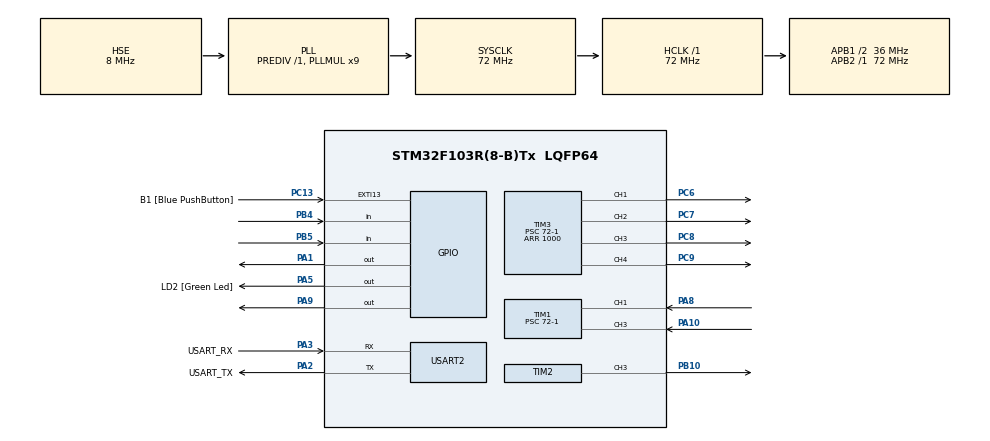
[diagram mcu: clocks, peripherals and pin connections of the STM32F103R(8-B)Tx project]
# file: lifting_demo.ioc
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Mcu.Family=STM32F1
Mcu.Name=STM32F103R(8-B)Tx
Mcu.Package=LQFP64
NVIC.EXTI15_10_IRQn=true\:0\:0\:false\:false\:true\:true\:true
NVIC.PriorityGroup=NVIC_PRIORITYGROUP_4
NVIC.TIM1_CC_IRQn=true\:0\:0\:false\:false\:true\:true\:true
PA1.Signal=GPIO_Output
PA10.Signal=S_TIM1_CH3
PA13.GPIO_Label=TMS
PA13.Mode=Serial_Wire
PA13.Signal=SYS_JTMS-SWDIO
PA14.GPIO_Label=TCK
PA14.Mode=Serial_Wire
PA14.Signal=SYS_JTCK-SWCLK
PA2.GPIO_Label=USART_TX
PA2.GPIO_Mode=GPIO_MODE_AF_PP
PA2.GPIO_PuPd=GPIO_NOPULL
PA2.GPIO_Speed=GPIO_SPEED_FREQ_LOW
PA2.Mode=Asynchronous
PA2.Signal=USART2_TX
PA3.GPIO_Label=USART_RX
PA3.GPIO_Mode=GPIO_MODE_AF_PP
PA3.GPIO_PuPd=GPIO_NOPULL
PA3.GPIO_Speed=GPIO_SPEED_FREQ_LOW
PA3.Mode=Asynchronous
PA3.Signal=USART2_RX
PA5.GPIO_Label=LD2 [Green Led]
PA5.GPIO_ModeDefaultOutputPP=GPIO_MODE_OUTPUT_PP
PA5.GPIO_PuPd=GPIO_NOPULL
PA5.GPIO_Speed=GPIO_SPEED_FREQ_LOW
PA5.Signal=GPIO_Output
PA8.Signal=S_TIM1_CH1
PA9.Signal=GPIO_Output
PB10.Signal=S_TIM2_CH3
PB4.Signal=GPIO_Input
PB5.Signal=GPIO_Input
PC13-TAMPER-RTC.GPIO_Label=B1 [Blue PushButton]
PC13-TAMPER-RTC.GPIO_PuPd=GPIO_NOPULL
PC13-TAMPER-RTC.Signal=GPXTI13
PC14-OSC32_IN.Mode=LSE-External-Oscillator
PC14-OSC32_IN.Signal=RCC_OSC32_IN
PC15-OSC32_OUT.Mode=LSE-External-Oscillator
PC15-OSC32_OUT.Signal=RCC_OSC32_OUT
PC6.Signal=S_TIM3_CH1
PC7.Signal=S_TIM3_CH2
PC8.Signal=S_TIM3_CH3
PC9.Signal=S_TIM3_CH4
PD0-OSC_IN.Mode=HSE-External-Clock-Source
PD0-OSC_IN.Signal=RCC_OSC_IN
PD1-OSC_OUT.Mode=HSE-External-Clock-Source
PD1-OSC_OUT.Signal=RCC_OSC_OUT
ProjectManager.HeapSize=0x200
ProjectManager.StackSize=0x400
ProjectManager.TargetToolchain=STM32CubeIDE
RCC.AHBFreq_Value=72000000
RCC.APB1CLKDivider=RCC_HCLK_DIV2
RCC.APB1Freq_Value=36000000
RCC.APB1TimFreq_Value=72000000
RCC.APB2Freq_Value=72000000
RCC.APB2TimFreq_Value=72000000
RCC.HCLKFreq_Value=72000000
RCC.PLLMUL=RCC_PLL_MUL9
RCC.PLLSourceVirtual=RCC_PLLSOURCE_HSE
RCC.RTCClockSelection=RCC_RTCCLKSOURCE_LSE
RCC.SYSCLKFreq_VALUE=72000000
RCC.SYSCLKSource=RCC_SYSCLKSOURCE_PLLCLK
RCC.USBFreq_Value=72000000
SH.S_TIM1_CH1.0=TIM1_CH1,Input_Capture1_from_TI1
SH.S_TIM1_CH3.0=TIM1_CH3,Input_Capture3_from_TI3
SH.S_TIM2_CH3.0=TIM2_CH3,PWM Generation3 CH3
SH.S_TIM3_CH1.0=TIM3_CH1,PWM Generation1 CH1
SH.S_TIM3_CH2.0=TIM3_CH2,PWM Generation2 CH2
SH.S_TIM3_CH3.0=TIM3_CH3,PWM Generation3 CH3
SH.S_TIM3_CH4.0=TIM3_CH4,PWM Generation4 CH4
TIM1.Channel-Input_Capture1_from_TI1=TIM_CHANNEL_1
TIM1.Channel-Input_Capture3_from_TI3=TIM_CHANNEL_3
TIM1.Period=0xffff-1
TIM1.Prescaler=72-1
TIM2.Channel-PWM\ Generation3\ CH3=TIM_CHANNEL_3
TIM2.OCPolarity_3=TIM_OCPOLARITY_LOW
TIM2.Period=100
TIM2.Prescaler=72
TIM3.Channel-PWM\ Generation1\ CH1=TIM_CHANNEL_1
TIM3.Channel-PWM\ Generation2\ CH2=TIM_CHANNEL_2
TIM3.Channel-PWM\ Generation3\ CH3=TIM_CHANNEL_3
TIM3.Channel-PWM\ Generation4\ CH4=TIM_CHANNEL_4
TIM3.OCPolarity_1=TIM_OCPOLARITY_LOW
TIM3.OCPolarity_2=TIM_OCPOLARITY_LOW
TIM3.OCPolarity_3=TIM_OCPOLARITY_LOW
TIM3.OCPolarity_4=TIM_OCPOLARITY_LOW
TIM3.Period=1000
TIM3.Prescaler=72-1
USART2.VirtualMode=VM_ASYNC
VP_TIM4_VS_ClockSourceINT.Mode=Internal
board=NUCLEO-F103RB

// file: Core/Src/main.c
/* USER CODE BEGIN Header */
/**
  ******************************************************************************
  * @file           : main.c
  * @brief          : Main program body
  ******************************************************************************
  * @attention
  *
  * <h2><center>&copy; Copyright (c) 2020 STMicroelectronics.
  * All rights reserved.</center></h2>
  *
  * This software component is licensed by ST under BSD 3-Clause license,
  * the "License"; You may not use this file except in compliance with the
  * License. You may obtain a copy of the License at:
  *                        opensource.org/licenses/BSD-3-Clause
  *
  ******************************************************************************
  */
/* USER CODE END Header */
#include "main.h"
#include "tim.h"
#include "usart.h"
#include "gpio.h"

/* USER CODE BEGIN Includes */

//#include "i2c-lcd.h"

/* USER CODE END Includes */

void SystemClock_Config(void);

/* USER CODE BEGIN 0 */
#ifdef __GNUC__
#define PUTCHAR_PROTOTYPE int __io_putchar(int ch)
#else
#define PUTCHAR_PROTOTYPE int fputc(int ch, FILE *f)
#endif

PUTCHAR_PROTOTYPE
{
    HAL_UART_Transmit(&huart2, (uint8_t *)&ch, 1 , 0xffff);
    return ch;
}

void delay (uint16_t time)
{
	__HAL_TIM_SET_COUNTER(&htim1, 0);
	while (__HAL_TIM_GET_COUNTER (&htim1) < time);
}

uint32_t IC_Val1 = 0;
uint32_t IC_Val2 = 0;
uint32_t Difference = 0;
uint8_t Is_First_Captured = 0;  // is the first value captured ?
uint8_t Distance  = 0;

#define TRIG_PIN GPIO_PIN_9
#define TRIG_PIN_1 GPIO_PIN_1
#define TRIG_PORT GPIOA

// Let's write the callback function

void HAL_TIM_IC_CaptureCallback(TIM_HandleTypeDef *htim)
{
	if (htim->Channel == HAL_TIM_ACTIVE_CHANNEL_1)  // if the interrupt source is channel1
	{
		if (Is_First_Captured==0) // if the first value is not captured
		{
			IC_Val1 = HAL_TIM_ReadCapturedValue(htim, TIM_CHANNEL_1); // read the first value
			Is_First_Captured = 1;  // set the first captured as true
			// Now change the polarity to falling edge
			__HAL_TIM_SET_CAPTUREPOLARITY(htim, TIM_CHANNEL_1, TIM_INPUTCHANNELPOLARITY_FALLING);
		}

		else if (Is_First_Captured==1)   // if the first is already captured
		{
			IC_Val2 = HAL_TIM_ReadCapturedValue(htim, TIM_CHANNEL_1);  // read second value
			__HAL_TIM_SET_COUNTER(htim, 0);  // reset the counter

			if (IC_Val2 > IC_Val1)
			{
				Difference = IC_Val2-IC_Val1;
			}

			else if (IC_Val1 > IC_Val2)
			{
				Difference = (0xffff - IC_Val1) + IC_Val2;
			}

			Distance = Difference * .034/2;
			Is_First_Captured = 0; // set it back to false

			// set polarity to rising edge
			__HAL_TIM_SET_CAPTUREPOLARITY(htim, TIM_CHANNEL_1, TIM_INPUTCHANNELPOLARITY_RISING);
			__HAL_TIM_DISABLE_IT(&htim1, TIM_IT_CC1);
		}
	}
	if (htim->Channel == HAL_TIM_ACTIVE_CHANNEL_3)  // if the interrupt source is channel1
	{
		if (Is_First_Captured==0) // if the first value is not captured
		{
			IC_Val1 = HAL_TIM_ReadCapturedValue(htim, TIM_CHANNEL_3); // read the first value
			Is_First_Captured = 1;  // set the first captured as true
			// Now change the polarity to falling edge
			__HAL_TIM_SET_CAPTUREPOLARITY(htim, TIM_CHANNEL_3, TIM_INPUTCHANNELPOLARITY_FALLING);
		}

		else if (Is_First_Captured==1)   // if the first is already captured
		{
			IC_Val2 = HAL_TIM_ReadCapturedValue(htim, TIM_CHANNEL_3);  // read second value
			__HAL_TIM_SET_COUNTER(htim, 0);  // reset the counter

			if (IC_Val2 > IC_Val1)
			{
				Difference = IC_Val2-IC_Val1;
			}

			else if (IC_Val1 > IC_Val2)
			{
				Difference = (0xffff - IC_Val1) + IC_Val2;
			}

			Distance = Difference * .034/2;
			Is_First_Captured = 0; // set it back to false

			// set polarity to rising edge
			__HAL_TIM_SET_CAPTUREPOLARITY(htim, TIM_CHANNEL_3, TIM_INPUTCHANNELPOLARITY_RISING);
			__HAL_TIM_DISABLE_IT(&htim1, TIM_IT_CC3);
		}
	}
}

void HCSR04_Read (void)
{
	HAL_GPIO_WritePin(TRIG_PORT, TRIG_PIN, GPIO_PIN_SET);  // pull the TRIG pin HIGH
	delay(30);  // wait for 10 us
	HAL_GPIO_WritePin(TRIG_PORT, TRIG_PIN, GPIO_PIN_RESET);  // pull the TRIG pin low

	__HAL_TIM_ENABLE_IT(&htim1, TIM_IT_CC1);
}
void HCSR04_Read_1 (void)
{
	HAL_GPIO_WritePin(TRIG_PORT, TRIG_PIN_1, GPIO_PIN_SET);  // pull the TRIG pin HIGH
	delay(30);  // wait for 10 us
	HAL_GPIO_WritePin(TRIG_PORT, TRIG_PIN_1, GPIO_PIN_RESET);  // pull the TRIG pin low

	__HAL_TIM_ENABLE_IT(&htim1, TIM_IT_CC3);
}

/* USER CODE END 0 */

int main(void)
{
  /* USER CODE BEGIN 1 */
	uint8_t Distance1,Distance2;
	uint8_t Wanted_Distance;
	int PB4,PB5;
  /* USER CODE END 1 */

  /* MCU Configuration--------------------------------------------------------*/

  /* Reset of all peripherals, Initializes the Flash interface and the Systick. */
  HAL_Init();

  /* Configure the system clock */
  SystemClock_Config();

  /* Initialize all configured peripherals */
  MX_GPIO_Init();
  MX_USART2_UART_Init();
  MX_TIM1_Init();
  MX_TIM4_Init();
  MX_TIM3_Init();
  MX_TIM2_Init();
  /* USER CODE BEGIN 2 */

  //lcd_init();

  HAL_TIM_IC_Start_IT(&htim1, TIM_CHANNEL_1);
  HAL_TIM_IC_Start_IT(&htim1, TIM_CHANNEL_3);
  HAL_TIM_PWM_Start(&htim3,TIM_CHANNEL_1);
  HAL_TIM_PWM_Start(&htim3,TIM_CHANNEL_2);
  HAL_TIM_PWM_Start(&htim3,TIM_CHANNEL_3);
  HAL_TIM_PWM_Start(&htim3,TIM_CHANNEL_4);
 // HAL_TIM_PWM_Start(&htim2,TIM_CHANNEL_3);

  /* USER CODE END 2 */

  /* Infinite loop */
  while (1)
  {

    /* USER CODE BEGIN 3 */
	  //GET wanted distance from pb4& pb5
	  PB4 = HAL_GPIO_ReadPin(GPIOB, GPIO_PIN_4);
	  PB5 = HAL_GPIO_ReadPin(GPIOB, GPIO_PIN_5);
	  if((PB4 == 0) && (PB5 == 0))
	  {
		  Wanted_Distance = 4;
	  }
	  if((PB4 == 0) && (PB5 == 1))
	  {
		  Wanted_Distance = 8;
	  }
	  if((PB4 == 1) && (PB5 == 0))
	  {
		  Wanted_Distance = 12;
	  }
	  if((PB4 == 1) && (PB5 == 1))
	  {
		  Wanted_Distance = 16;
	  }
	  //Distance sensor work
	  __HAL_TIM_SET_COMPARE(&htim2,TIM_CHANNEL_3,1);
	  HCSR04_Read();
	  Distance1 = Distance;//youbian
	  printf("\n Distance1 is %d \t\r\n",Distance1);

	  HCSR04_Read_1();
	  Distance2 = Distance;//zuobian
	  printf("\n Distance2 is %d \t\r\n",Distance2);

	  //HAL_Delay(200);

	  if (Distance1<25)
	  {
		if(Distance2 < Wanted_Distance)//xiajiang youbian700 500
				  		{
							__HAL_TIM_SET_COMPARE(&htim3,TIM_CHANNEL_2,800);//700
							__HAL_TIM_SET_COMPARE(&htim3,TIM_CHANNEL_1,1100);
				  		}

		else if(Distance2 > Wanted_Distance)//shangsheng zuobian
						  {
							__HAL_TIM_SET_COMPARE(&htim3,TIM_CHANNEL_1,550);//500
							__HAL_TIM_SET_COMPARE(&htim3,TIM_CHANNEL_2,1100);
						  }
		else
						{
							__HAL_TIM_SET_COMPARE(&htim3,TIM_CHANNEL_2,1100);
							__HAL_TIM_SET_COMPARE(&htim3,TIM_CHANNEL_1,1100);
						 }
		if(Distance1 < Wanted_Distance)//xiajiang 3 4 youbiandianji
				  		{
							__HAL_TIM_SET_COMPARE(&htim3,TIM_CHANNEL_4,800);//
							__HAL_TIM_SET_COMPARE(&htim3,TIM_CHANNEL_3,1100);
				  		}

		else if(Distance1 > Wanted_Distance)//shangsheng youbian
						  {
							__HAL_TIM_SET_COMPARE(&htim3,TIM_CHANNEL_3,450);//500
							__HAL_TIM_SET_COMPARE(&htim3,TIM_CHANNEL_4,1100);
						  }
		else
						{
							__HAL_TIM_SET_COMPARE(&htim3,TIM_CHANNEL_4,1100);
							__HAL_TIM_SET_COMPARE(&htim3,TIM_CHANNEL_3,1100);
						 }
	  }
	  else
	  {
			__HAL_TIM_SET_COMPARE(&htim3,TIM_CHANNEL_4,1100);
			__HAL_TIM_SET_COMPARE(&htim3,TIM_CHANNEL_3,1100);
			__HAL_TIM_SET_COMPARE(&htim3,TIM_CHANNEL_2,1100);
			__HAL_TIM_SET_COMPARE(&htim3,TIM_CHANNEL_1,1100);
	  }
  }
  HAL_Delay(240);
  /* USER CODE END 3 */
}

void SystemClock_Config(void)
{
  RCC_OscInitTypeDef RCC_OscInitStruct = {0};
  RCC_ClkInitTypeDef RCC_ClkInitStruct = {0};

  /** Initializes the RCC Oscillators according to the specified parameters
  * in the RCC_OscInitTypeDef structure.
  */
  RCC_OscInitStruct.OscillatorType = RCC_OSCILLATORTYPE_HSE;
  RCC_OscInitStruct.HSEState = RCC_HSE_BYPASS;
  RCC_OscInitStruct.HSEPredivValue = RCC_HSE_PREDIV_DIV1;
  RCC_OscInitStruct.HSIState = RCC_HSI_ON;
  RCC_OscInitStruct.PLL.PLLState = RCC_PLL_ON;
  RCC_OscInitStruct.PLL.PLLSource = RCC_PLLSOURCE_HSE;
  RCC_OscInitStruct.PLL.PLLMUL = RCC_PLL_MUL9;
  if (HAL_RCC_OscConfig(&RCC_OscInitStruct) != HAL_OK)
  {
    Error_Handler();
  }
  /** Initializes the CPU, AHB and APB buses clocks
  */
  RCC_ClkInitStruct.ClockType = RCC_CLOCKTYPE_HCLK|RCC_CLOCKTYPE_SYSCLK
                              |RCC_CLOCKTYPE_PCLK1|RCC_CLOCKTYPE_PCLK2;
  RCC_ClkInitStruct.SYSCLKSource = RCC_SYSCLKSOURCE_PLLCLK;
  RCC_ClkInitStruct.AHBCLKDivider = RCC_SYSCLK_DIV1;
  RCC_ClkInitStruct.APB1CLKDivider = RCC_HCLK_DIV2;
  RCC_ClkInitStruct.APB2CLKDivider = RCC_HCLK_DIV1;

  if (HAL_RCC_ClockConfig(&RCC_ClkInitStruct, FLASH_LATENCY_2) != HAL_OK)
  {
    Error_Handler();
  }
}

void Error_Handler(void)
{
}

/************************ (C) COPYRIGHT STMicroelectronics *****END OF FILE****/
